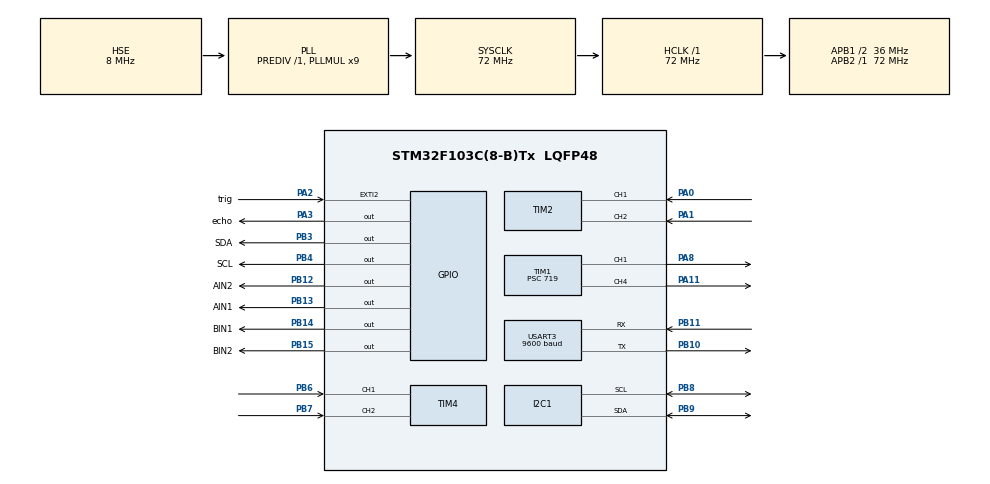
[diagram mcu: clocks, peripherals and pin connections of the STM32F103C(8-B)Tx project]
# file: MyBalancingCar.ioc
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Mcu.Family=STM32F1
Mcu.Name=STM32F103C(8-B)Tx
Mcu.Package=LQFP48
NVIC.EXTI2_IRQn=true\:0\:0\:false\:false\:true\:true\:true\:true
NVIC.PriorityGroup=NVIC_PRIORITYGROUP_4
NVIC.TIM1_UP_IRQn=true\:0\:0\:false\:false\:true\:true\:true\:true
NVIC.USART3_IRQn=true\:0\:0\:false\:false\:true\:true\:true\:true
PA0-WKUP.Signal=S_TIM2_CH1_ETR
PA1.Signal=S_TIM2_CH2
PA11.Signal=S_TIM1_CH4
PA13.Mode=Serial_Wire
PA13.Signal=SYS_JTMS-SWDIO
PA14.Mode=Serial_Wire
PA14.Signal=SYS_JTCK-SWCLK
PA2.GPIO_Label=trig
PA2.GPIO_ModeDefaultEXTI=GPIO_MODE_IT_RISING_FALLING
PA2.Signal=GPXTI2
PA3.GPIO_Label=echo
PA3.GPIO_ModeDefaultOutputPP=GPIO_MODE_OUTPUT_PP
PA3.GPIO_Speed=GPIO_SPEED_FREQ_HIGH
PA3.Signal=GPIO_Output
PA8.Signal=S_TIM1_CH1
PB10.Mode=Asynchronous
PB10.Signal=USART3_TX
PB11.Mode=Asynchronous
PB11.Signal=USART3_RX
PB12.GPIO_Label=AIN2
PB12.GPIO_Speed=GPIO_SPEED_FREQ_HIGH
PB12.Signal=GPIO_Output
PB13.GPIO_Label=AIN1
PB13.GPIO_Speed=GPIO_SPEED_FREQ_HIGH
PB13.Signal=GPIO_Output
PB14.GPIO_Label=BIN1
PB14.GPIO_Speed=GPIO_SPEED_FREQ_HIGH
PB14.Signal=GPIO_Output
PB15.GPIO_Label=BIN2
PB15.GPIO_Speed=GPIO_SPEED_FREQ_HIGH
PB15.Signal=GPIO_Output
PB3.GPIO_Label=SDA
PB3.GPIO_ModeDefaultOutputPP=GPIO_MODE_OUTPUT_OD
PB3.GPIO_Speed=GPIO_SPEED_FREQ_HIGH
PB3.PinState=GPIO_PIN_SET
PB3.Signal=GPIO_Output
PB4.GPIO_Label=SCL
PB4.GPIO_ModeDefaultOutputPP=GPIO_MODE_OUTPUT_OD
PB4.GPIO_Speed=GPIO_SPEED_FREQ_HIGH
PB4.PinState=GPIO_PIN_SET
PB4.Signal=GPIO_Output
PB6.Signal=S_TIM4_CH1
PB7.Signal=S_TIM4_CH2
PB8.Mode=I2C
PB8.Signal=I2C1_SCL
PB9.Mode=I2C
PB9.Signal=I2C1_SDA
PC14-OSC32_IN.Mode=LSE-External-Oscillator
PC14-OSC32_IN.Signal=RCC_OSC32_IN
PC15-OSC32_OUT.Mode=LSE-External-Oscillator
PC15-OSC32_OUT.Signal=RCC_OSC32_OUT
PD0-OSC_IN.Mode=HSE-External-Oscillator
PD0-OSC_IN.Signal=RCC_OSC_IN
PD1-OSC_OUT.Mode=HSE-External-Oscillator
PD1-OSC_OUT.Signal=RCC_OSC_OUT
ProjectManager.HeapSize=0x200
ProjectManager.StackSize=0x400
ProjectManager.TargetToolchain=CMake
RCC.AHBFreq_Value=72000000
RCC.APB1CLKDivider=RCC_HCLK_DIV2
RCC.APB1Freq_Value=36000000
RCC.APB1TimFreq_Value=72000000
RCC.APB2Freq_Value=72000000
RCC.APB2TimFreq_Value=72000000
RCC.HCLKFreq_Value=72000000
RCC.PLLMUL=RCC_PLL_MUL9
RCC.PLLSourceVirtual=RCC_PLLSOURCE_HSE
RCC.SYSCLKFreq_VALUE=72000000
RCC.SYSCLKSource=RCC_SYSCLKSOURCE_PLLCLK
RCC.USBFreq_Value=72000000
SH.S_TIM1_CH1.0=TIM1_CH1,PWM Generation1 CH1
SH.S_TIM1_CH4.0=TIM1_CH4,PWM Generation4 CH4
SH.S_TIM2_CH1_ETR.0=TIM2_CH1,Encoder_Interface
SH.S_TIM2_CH2.0=TIM2_CH2,Encoder_Interface
SH.S_TIM4_CH1.0=TIM4_CH1,Encoder_Interface
SH.S_TIM4_CH2.0=TIM4_CH2,Encoder_Interface
TIM1.AutoReloadPreload=TIM_AUTORELOAD_PRELOAD_DISABLE
TIM1.Channel-PWM\ Generation1\ CH1=TIM_CHANNEL_1
TIM1.Channel-PWM\ Generation4\ CH4=TIM_CHANNEL_4
TIM1.Period=799
TIM1.Prescaler=719
TIM2.EncoderMode=TIM_ENCODERMODE_TI12
TIM3.Prescaler=71
TIM4.EncoderMode=TIM_ENCODERMODE_TI12
USART3.BaudRate=9600
USART3.VirtualMode=VM_ASYNC
VP_TIM1_VS_ClockSourceINT.Mode=Internal
VP_TIM3_VS_ClockSourceINT.Mode=Internal
board=custom

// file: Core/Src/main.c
/* USER CODE BEGIN Header */
/**
  ******************************************************************************
  * @file           : main.c
  * @brief          : Main program body
  ******************************************************************************
  * @attention
  *
  * <h2><center>&copy; Copyright (c) 2025 STMicroelectronics.
  * All rights reserved.</center></h2>
  *
  * This software component is licensed by ST under BSD 3-Clause license,
  * the "License"; You may not use this file except in compliance with the
  * License. You may obtain a copy of the License at:
  *                        opensource.org/licenses/BSD-3-Clause
  *
  ******************************************************************************
  */
/* USER CODE END Header */
#include "main.h"
#include "i2c.h"
#include "tim.h"
#include "usart.h"
#include "gpio.h"

/* USER CODE BEGIN Includes */
#include "stdio.h"
#include "oled.h"
#include "MPU6050.h"
#include "sr04.h"
#include "Encoder.h"
#include "motor.h"
#include "inv_mpu.h"
/* USER CODE END Includes */

/* USER CODE BEGIN PV */
int16_t AccX,AccY, AccZ, GyroX, GyroY, GyroZ;
char myStr[20];
uint8_t rx_buf[2],display_buf[30];
uint8_t InitFlag,result;
extern int Encoder1,Encoder2;
extern float pitch,roll,yaw;
extern double distance;
/* USER CODE END PV */

void SystemClock_Config(void);

int main(void)
{

  /* MCU Configuration--------------------------------------------------------*/

  /* Reset of all peripherals, Initializes the Flash interface and the Systick. */
  HAL_Init();

  /* Configure the system clock */
  SystemClock_Config();

  /* Initialize all configured peripherals */
  MX_GPIO_Init();
  MX_I2C1_Init();
  MX_TIM3_Init();
  MX_TIM1_Init();
  MX_TIM2_Init();
  MX_TIM4_Init();
  MX_USART3_UART_Init();
  /* USER CODE BEGIN 2 */
	HAL_TIM_Base_Start_IT(&htim1);
	OLED_Init();
	OLED_Clear();
	MPU_Init();
	mpu_dmp_init();
	Motor_Init();
	Encoder_Init();
	HAL_UART_Receive_IT(&huart3,rx_buf,1);
	Load(0,0);
	OLED_ShowString(0,0,(uint8_t* )"Init Success",13);
	InitFlag = 1;

  /* USER CODE END 2 */

  /* Infinite loop */
  /* USER CODE BEGIN WHILE */
	OLED_Clear();
  while (1)
  {
		sprintf((char *)display_buf,"Encoder_L:%d   ",Encoder1);
		OLED_ShowString(0,0,display_buf,16);
		sprintf((char *)display_buf,"Encoder_R:%d   ",Encoder2);
		OLED_ShowString(0,2,display_buf,16);
		sprintf((char *)display_buf,"roll:%.1f   ",roll);
		OLED_ShowString(0,4,display_buf,16);
		sr04_Send();
		sprintf((char *)display_buf,"distance:%.1f  ",distance);
		OLED_ShowString(0,6,display_buf,12);

    /* USER CODE END WHILE */

  }
}

void SystemClock_Config(void)
{
  RCC_OscInitTypeDef RCC_OscInitStruct = {0};
  RCC_ClkInitTypeDef RCC_ClkInitStruct = {0};

  /** Initializes the RCC Oscillators according to the specified parameters
  * in the RCC_OscInitTypeDef structure.
  */
  RCC_OscInitStruct.OscillatorType = RCC_OSCILLATORTYPE_HSE;
  RCC_OscInitStruct.HSEState = RCC_HSE_ON;
  RCC_OscInitStruct.HSEPredivValue = RCC_HSE_PREDIV_DIV1;
  RCC_OscInitStruct.HSIState = RCC_HSI_ON;
  RCC_OscInitStruct.PLL.PLLState = RCC_PLL_ON;
  RCC_OscInitStruct.PLL.PLLSource = RCC_PLLSOURCE_HSE;
  RCC_OscInitStruct.PLL.PLLMUL = RCC_PLL_MUL9;
  if (HAL_RCC_OscConfig(&RCC_OscInitStruct) != HAL_OK)
  {
    Error_Handler();
  }

  /** Initializes the CPU, AHB and APB buses clocks
  */
  RCC_ClkInitStruct.ClockType = RCC_CLOCKTYPE_HCLK|RCC_CLOCKTYPE_SYSCLK
                              |RCC_CLOCKTYPE_PCLK1|RCC_CLOCKTYPE_PCLK2;
  RCC_ClkInitStruct.SYSCLKSource = RCC_SYSCLKSOURCE_PLLCLK;
  RCC_ClkInitStruct.AHBCLKDivider = RCC_SYSCLK_DIV1;
  RCC_ClkInitStruct.APB1CLKDivider = RCC_HCLK_DIV2;
  RCC_ClkInitStruct.APB2CLKDivider = RCC_HCLK_DIV1;

  if (HAL_RCC_ClockConfig(&RCC_ClkInitStruct, FLASH_LATENCY_2) != HAL_OK)
  {
    Error_Handler();
  }
}

void Error_Handler(void)
{
  __disable_irq();
  while (1)
  {
  }
}
